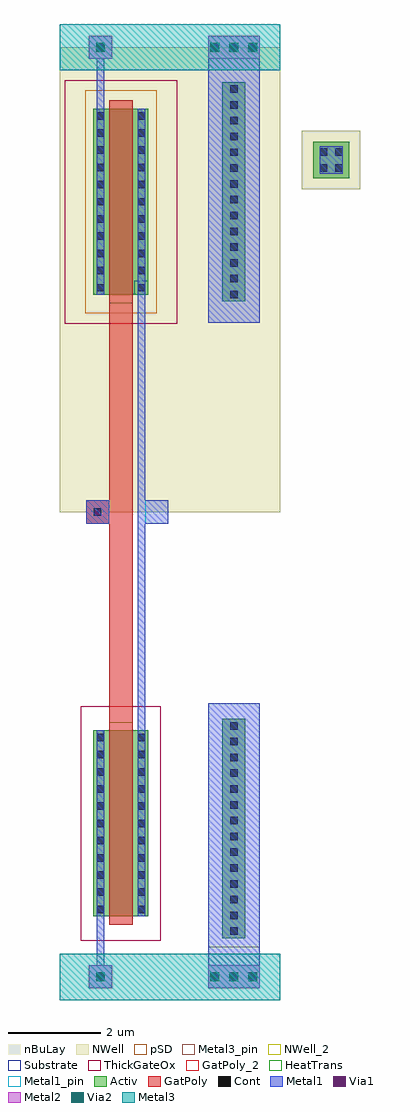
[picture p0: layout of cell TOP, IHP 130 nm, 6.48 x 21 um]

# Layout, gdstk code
import gdstk
lib = gdstk.Library(unit=1e-6, precision=1e-09)
def R(c, l, rs):  # rectangles x0, y0, x1, y1
    for r in rs: c.add(gdstk.rectangle(r[:2], r[2:], *l))
def A(c, l, x, y, w, h, nx, ny, dx, dy):  # array of equal rectangles
    R(c, l, [(x+i*dx, y+j*dy, x+i*dx+w, y+j*dy+h) for i in range(nx) for j in range(ny)])
Activ = (1, 0)
GatPoly = (5, 0)
GatPoly_2 = (5, 2)
Cont = (6, 0)
Metal1 = (8, 0)
Metal1_pin = (8, 2)
Metal2 = (10, 0)
pSD = (14, 0)
Via1 = (19, 0)
Via2 = (29, 0)
Metal3 = (30, 0)
Metal3_pin = (30, 2)
NWell = (31, 0)
NWell_2 = (31, 2)
nBuLay = (32, 0)
Substrate = (40, 0)
ThickGateOx = (44, 0)
HeatTrans = (51, 0)

nmoshv_1 = lib.new_cell('nmosHV$1')
R(nmoshv_1, Activ, [(0,0,0.3,0.3), (0,0,1.18,4), (0.88,0,1.18,0.3)])
R(nmoshv_1, GatPoly, [(0.34,-0.18,0.84,4.18)])
R(nmoshv_1, GatPoly_2, [(0.34,-0.18,0.84,4.18)])
A(nmoshv_1, Cont, 0.07, 0.07, 0.16, 0.16, 1, 11, 0, 0.37)
A(nmoshv_1, Cont, 0.95, 0.07, 0.16, 0.16, 1, 11, 0, 0.37)
R(nmoshv_1, Metal1, [(0.07,0,0.23,4), (0.95,0,1.11,4)])
R(nmoshv_1, Metal1_pin, [(0.07,0,0.23,4), (0.95,0,1.11,4)])
R(nmoshv_1, ThickGateOx, [(-0.27,-0.52,1.45,4.52)])
R(nmoshv_1, HeatTrans, [(0.34,-0.18,0.84,4.18)])
nmoshv_1.add(gdstk.Label('nmosHV', (0.59,2), layer=63, texttype=0))
nmoshv_1.add(gdstk.Label('nmosHV', (0.59,2), layer=51, texttype=0))

pmoshv_1 = lib.new_cell('pmosHV$1')
R(pmoshv_1, Activ, [(0,0,0.3,0.3), (0,0,1.18,4), (0.88,0,1.18,0.3)])
R(pmoshv_1, GatPoly, [(0.34,-0.18,0.84,4.18)])
R(pmoshv_1, GatPoly_2, [(0.34,-0.18,0.84,4.18)])
A(pmoshv_1, Cont, 0.07, 0.07, 0.16, 0.16, 1, 11, 0, 0.37)
A(pmoshv_1, Cont, 0.95, 0.07, 0.16, 0.16, 1, 11, 0, 0.37)
R(pmoshv_1, Metal1, [(0.07,0,0.23,4), (0.95,0,1.11,4)])
R(pmoshv_1, Metal1_pin, [(0.07,0,0.23,4), (0.95,0,1.11,4)])
R(pmoshv_1, pSD, [(-0.18,-0.4,1.36,4.4)])
R(pmoshv_1, NWell, [(-0.62,-0.62,1.8,4.62)])
R(pmoshv_1, Substrate, [(0.88,0,1.18,0.3)])
R(pmoshv_1, ThickGateOx, [(-0.62,-0.62,1.8,4.62)])
R(pmoshv_1, HeatTrans, [(0.34,-0.18,0.84,4.18)])
pmoshv_1.add(gdstk.Label('pmosHV', (0.59,2), layer=63, texttype=0))
pmoshv_1.add(gdstk.Label('pmos', (0.59,2), layer=51, texttype=0))

via_6 = lib.new_cell('Via$6')
R(via_6, Metal2, [(-0.25,-0.25,0.25,0.25)])
R(via_6, Via2, [(-0.095,-0.095,0.095,0.095)])
R(via_6, Metal3, [(-0.25,-0.25,0.25,0.25)])

via = lib.new_cell('Via')
R(via, Metal1, [(-0.25,-0.25,0.25,0.25)])
R(via, Metal2, [(-0.25,-0.25,0.25,0.25)])
R(via, Via1, [(-0.095,-0.095,0.095,0.095)])

via_2 = lib.new_cell('Via$2')
R(via_2, GatPoly, [(-0.25,-0.25,0.25,0.25)])
R(via_2, Cont, [(-0.08,-0.08,0.08,0.08)])
R(via_2, Metal1, [(-0.25,-0.25,0.25,0.25)])

inv1 = lib.new_cell('inv1')
R(inv1, GatPoly, [(1.07,5.48,1.57,14.495)])
R(inv1, Metal1, [(0.8,-0.25,0.96,5.3), (1.68,1.3,1.84,18.675), (1.84,9.75,2.34,10.25), (0.8,14.675,0.96,20.25)])
R(inv1, Metal1_pin, [(0.57,9.75,1.07,10.25), (1.84,9.75,2.34,10.25)])
R(inv1, Metal3, [(0,-0.5,2.75,0.5), (0,19.5,2.75,20.5)])
R(inv1, Metal3_pin, [(0,-0.5,2.75,0.5), (0,19.5,2.75,20.5)])
R(inv1, NWell, [(0,10,2.75,20)])
inv1.add(gdstk.Reference(nmoshv_1, (0.73,1.3)))
inv1.add(gdstk.Reference(pmoshv_1, (0.73,14.675)))
inv1.add(gdstk.Reference(via_6, (0.88,20)))
inv1.add(gdstk.Reference(via, (0.88,20)))
inv1.add(gdstk.Reference(via, (0.88,0)))
inv1.add(gdstk.Reference(via_6, (0.88,0)))
inv1.add(gdstk.Reference(via_2, (0.82,10)))
inv1.add(gdstk.Label('VDD', (1.234,20.419), layer=30, texttype=25))
inv1.add(gdstk.Label('VSS', (1.698,-0.452), layer=30, texttype=25))
inv1.add(gdstk.Label('out', (2.09,9.985), layer=8, texttype=25))
inv1.add(gdstk.Label('in', (0.82,9.985), layer=8, texttype=25))

via_4 = lib.new_cell('Via$4')
R(via_4, Activ, [(-0.25,-2.36,0.25,2.36)])
A(via_4, Cont, -0.08, -2.29, 0.16, 0.16, 1, 14, 0, 0.34)
R(via_4, Metal1, [(-0.25,-2.34,0.25,2.34)])

via_8 = lib.new_cell('Via$8')
R(via_8, Metal2, [(-0.555,-0.25,0.555,0.25)])
A(via_8, Via2, -0.505, -0.095, 0.19, 0.19, 3, 1, 0.41, 0)
R(via_8, Metal3, [(-0.555,-0.25,0.555,0.25)])

via_9 = lib.new_cell('Via$9')
R(via_9, Metal1, [(-0.555,-0.25,0.555,0.25)])
R(via_9, Metal2, [(-0.555,-0.25,0.555,0.25)])
A(via_9, Via1, -0.505, -0.095, 0.19, 0.19, 3, 1, 0.41, 0)

welltap = lib.new_cell('welltap')
R(welltap, Metal1, [(0.445,-0.25,1.555,5.885), (0.445,14.07,1.555,20.25)])
R(welltap, pSD, [(0.445,0.635,1.555,5.885)])
R(welltap, Metal3, [(0,-0.5,2,0.5), (0,19.5,2,20.5)])
R(welltap, Metal3_pin, [(0,-0.5,2,0.5), (0,19.5,2,20.5)])
R(welltap, NWell, [(0,10,2,20)])
welltap.add(gdstk.Reference(via_4, (1,16.89)))
welltap.add(gdstk.Reference(via_4, (1,3.19)))
welltap.add(gdstk.Reference(via_8, (1,0)))
welltap.add(gdstk.Reference(via_8, (1,20)))
welltap.add(gdstk.Reference(via_9, (1,20)))
welltap.add(gdstk.Reference(via_9, (1,0)))
welltap.add(gdstk.Label('VDD', (1.234,20.419), layer=30, texttype=25))
welltap.add(gdstk.Label('VSS', (1.698,-0.452), layer=30, texttype=25))

ntap1 = lib.new_cell('ntap1')
R(ntap1, Activ, [(0,0,0.78,0.78)])
R(ntap1, Cont, [(0.14,0.14,0.3,0.3), (0.48,0.14,0.64,0.3), (0.14,0.48,0.3,0.64), (0.48,0.48,0.64,0.64)])
R(ntap1, Metal1, [(0.14,0.09,0.64,0.69)])
R(ntap1, Metal1_pin, [(0.14,0.09,0.64,0.69), (0.14,0.14,0.64,0.64)])
R(ntap1, NWell, [(-0.24,-0.24,1.02,1.02), (0,0,0.78,0.78)])
R(ntap1, NWell_2, [(0,0,0.78,0.78)])
R(ntap1, nBuLay, [(-0.24,-0.24,1.02,1.02)])
ntap1.add(gdstk.Label('well', (0.39,0.01), layer=63, texttype=0))
ntap1.add(gdstk.Label('well', (0.39,0.01), layer=31, texttype=0))

top = lib.new_cell('TOP')
top.add(gdstk.Reference(inv1, (0,0)))
top.add(gdstk.Reference(welltap, (2.75,0)))
top.add(gdstk.Reference(ntap1, (5.455,17.185)))

lib.write_gds('TOP.gds')
